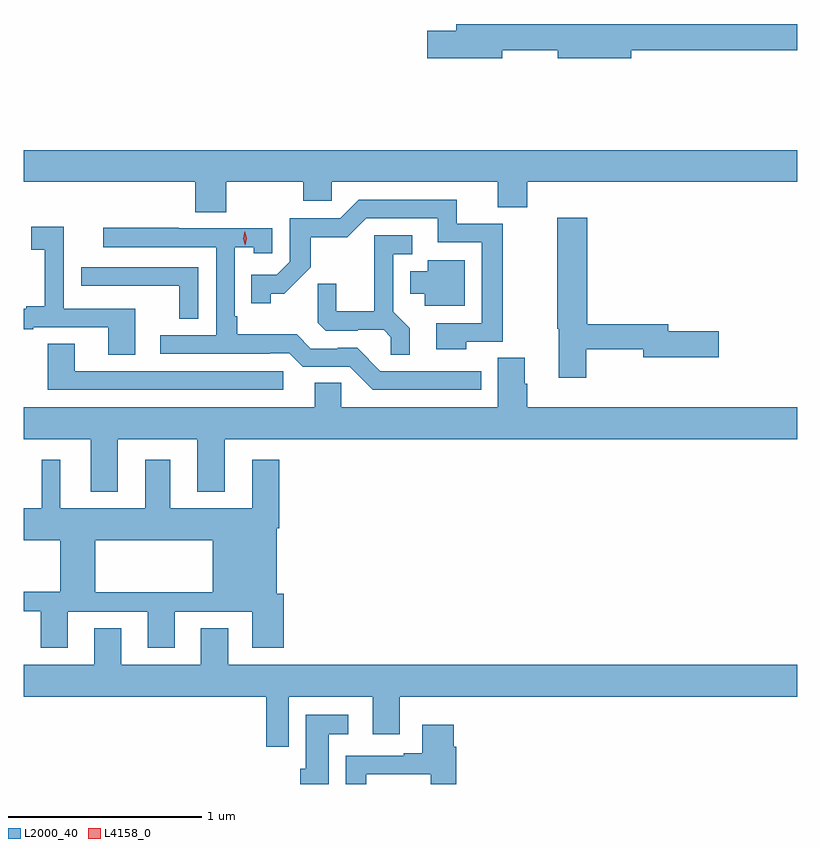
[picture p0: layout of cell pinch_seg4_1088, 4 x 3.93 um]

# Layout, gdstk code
import gdstk
lib = gdstk.Library(unit=1e-6, precision=1e-09)
def P(c, l, *ps):  # polygons
    for p in ps: c.add(gdstk.Polygon(p, *l))
L2000_40 = (2000, 40)
L4158_0 = (4158, 0)

pinch_seg4_1088 = lib.new_cell('pinch_seg4_1088')
P(pinch_seg4_1088, L2000_40, [(422.578,828.136),(422.864,828.136),(422.864,828.094),(423.244,828.094),(423.244,828.136),(424.103,828.136),(424.103,828.272),(422.339,828.272),(422.339,828.236),(422.19,828.236),(422.19,828.094),(422.578,828.094)],
  [(421.149,827.456),(421.549,827.456),(421.549,827.358),(421.695,827.358),(421.695,827.456),(422.555,827.456),(422.555,827.323),(422.708,827.323),(422.708,827.456),(424.103,827.456),(424.103,827.62),(420.103,827.62),(420.103,827.456),(420.989,827.456),(420.989,827.299),(421.149,827.299)],
  [(422.391,826.629),(422.581,826.629),(422.581,827.238),(422.342,827.238),(422.342,827.364),(421.836,827.364),(421.74,827.268),(421.479,827.268),(421.479,827.043),(421.41,826.974),(421.279,826.974),(421.279,826.827),(421.38,826.827),(421.38,826.877),(421.45,826.877),(421.588,827.014),(421.588,827.17),(421.777,827.17),(421.875,827.268),(422.243,827.268),(422.243,827.142),(422.472,827.142),(422.472,826.725),(422.235,826.725),(422.235,826.589),(422.391,826.589)],
  [(423.012,826.59),(423.308,826.59),(423.308,826.547),(423.697,826.547),(423.697,826.682),(423.436,826.682),(423.436,826.718),(423.017,826.718),(423.017,827.269),(422.863,827.269),(422.863,826.695),(422.87,826.695),(422.87,826.443),(423.012,826.443)],
  [(420.679,826.8),(420.309,826.8),(420.309,827.224),(420.141,827.224),(420.141,827.104),(420.212,827.104),(420.212,826.813),(420.116,826.813),(420.116,826.8),(420.103,826.8),(420.103,826.692),(420.151,826.692),(420.151,826.704),(420.539,826.704),(420.539,826.561),(420.679,826.561)],
  [(422.47,826.476),(421.947,826.476),(421.827,826.596),(421.726,826.596),(421.726,826.593),(421.587,826.593),(421.514,826.666),(421.207,826.666),(421.207,826.759),(421.194,826.759),(421.194,827.117),(421.293,827.117),(421.293,827.085),(421.389,827.085),(421.389,827.214),(420.905,827.214),(420.905,827.217),(420.513,827.217),(420.513,827.118),(421.098,827.118),(421.098,826.662),(420.807,826.662),(420.807,826.566),(421.376,826.566),(421.376,826.569),(421.476,826.569),(421.545,826.5),(421.788,826.5),(421.908,826.38),(422.47,826.38)],
  [(422.099,826.697),(422.013,826.783),(422.013,827.082),(422.113,827.082),(422.113,827.178),(421.916,827.178),(421.916,826.786),(421.718,826.786),(421.718,826.929),(421.624,826.929),(421.624,826.727),(421.665,826.686),(421.83,826.686),(421.83,826.689),(421.964,826.689),(422.001,826.652),(422.001,826.561),(422.099,826.561)],
  [(422.383,827.05),(422.192,827.05),(422.192,826.993),(422.102,826.993),(422.102,826.877),(422.177,826.877),(422.177,826.814),(422.383,826.814)],
  [(421.005,827.013),(420.399,827.013),(420.399,826.918),(420.511,826.918),(420.511,826.917),(420.907,826.917),(420.907,826.747),(421.005,826.747)],
  [(421.444,826.476),(420.367,826.476),(420.367,826.619),(420.227,826.619),(420.227,826.38),(421.444,826.38)],
  [(420.589,826.124),(421.001,826.124),(421.001,825.851),(421.141,825.851),(421.141,826.124),(424.103,826.124),(424.103,826.288),(422.708,826.288),(422.708,826.41),(422.695,826.41),(422.695,826.544),(422.555,826.544),(422.555,826.288),(421.746,826.288),(421.746,826.415),(421.607,826.415),(421.607,826.288),(420.103,826.288),(420.103,826.124),(420.449,826.124),(420.449,825.851),(420.589,825.851)],
  [(420.191,825.234),(420.191,825.045),(420.331,825.045),(420.331,825.231),(420.743,825.231),(420.743,825.045),(420.883,825.045),(420.883,825.231),(421.283,825.231),(421.283,825.045),(421.448,825.045),(421.448,825.324),(421.411,825.324),(421.411,825.662),(421.424,825.662),(421.424,826.018),(421.283,826.018),(421.283,825.766),(420.859,825.766),(420.859,826.018),(420.731,826.018),(420.731,825.766),(420.292,825.766),(420.292,826.018),(420.194,826.018),(420.194,825.766),(420.103,825.766),(420.103,825.602),(420.29,825.602),(420.29,825.335),(420.103,825.335),(420.103,825.332),(420.473,825.332),(420.473,825.602),(421.079,825.602),(421.079,825.332),(420.473,825.332),(420.103,825.332),(420.103,825.234)],
  [(421.473,824.792),(421.907,824.792),(421.907,824.598),(422.047,824.598),(422.047,824.792),(424.103,824.792),(424.103,824.956),(421.159,824.956),(421.159,825.146),(421.019,825.146),(421.019,824.956),(420.607,824.956),(420.607,825.146),(420.467,825.146),(420.467,824.956),(420.103,824.956),(420.103,824.792),(421.357,824.792),(421.357,824.532),(421.473,824.532)],
  [(421.681,824.597),(421.78,824.597),(421.78,824.698),(421.562,824.698),(421.562,824.418),(421.532,824.418),(421.532,824.34),(421.681,824.34)],
  [(421.873,824.391),(422.207,824.391),(422.207,824.34),(422.339,824.34),(422.339,824.534),(422.326,824.534),(422.326,824.647),(422.165,824.647),(422.165,824.5),(422.069,824.5),(422.069,824.487),(421.769,824.487),(421.769,824.34),(421.873,824.34)])
P(pinch_seg4_1088, L4158_0, [(421.248,827.127),(421.248,827.127),(421.237,827.162),(421.246,827.199),(421.246,827.199),(421.246,827.199),(421.257,827.163),(421.249,827.127)])

lib.write_gds('pinch_seg4_1088.gds')
